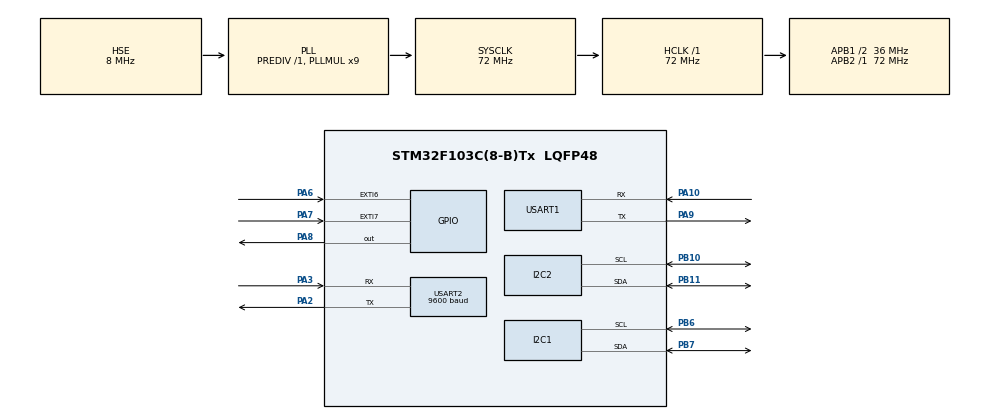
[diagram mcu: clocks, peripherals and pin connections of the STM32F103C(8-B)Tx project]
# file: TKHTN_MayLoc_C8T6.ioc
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Mcu.Family=STM32F1
RCC.PLLSourceVirtual=RCC_PLLSOURCE_HSE
PC15-OSC32_OUT.Mode=LSE-External-Oscillator
PA6.GPIO_ModeDefaultEXTI=GPIO_MODE_IT_FALLING
PD1-OSC_OUT.Mode=HSE-External-Oscillator
PA10.Mode=Asynchronous
PB10.Mode=I2C
PA7.GPIO_ModeDefaultEXTI=GPIO_MODE_IT_FALLING
PD0-OSC_IN.Signal=RCC_OSC_IN
RCC.APB1CLKDivider=RCC_HCLK_DIV2
PC14-OSC32_IN.Signal=RCC_OSC32_IN
PB11.Signal=I2C2_SDA
NVIC.USART2_IRQn=true\:0\:0\:false\:false\:true\:true\:true
USART2.BaudRate=9600
RCC.SYSCLKSource=RCC_SYSCLKSOURCE_PLLCLK
ProjectManager.StackSize=0x400
PD1-OSC_OUT.Signal=RCC_OSC_OUT
PA13.Signal=SYS_JTMS-SWDIO
PA3.Mode=Asynchronous
PA9.Mode=Asynchronous
PB11.Mode=I2C
ProjectManager.TargetToolchain=MDK-ARM V5
RCC.HCLKFreq_Value=72000000
RCC.APB2TimFreq_Value=72000000
PA9.Signal=USART1_TX
PB6.Signal=I2C1_SCL
PB6.Mode=I2C
RCC.USBFreq_Value=72000000
PC15-OSC32_OUT.Signal=RCC_OSC32_OUT
PA7.GPIO_PuPd=GPIO_PULLUP
RCC.AHBFreq_Value=72000000
PD0-OSC_IN.Mode=HSE-External-Oscillator
PB10.Signal=I2C2_SCL
board=custom
RCC.PLLMUL=RCC_PLL_MUL9
RCC.APB2Freq_Value=72000000
PA6.GPIO_PuPd=GPIO_PULLUP
PC14-OSC32_IN.Mode=LSE-External-Oscillator
PA14.Mode=Serial_Wire
PB7.Signal=I2C1_SDA
PA8.Signal=GPIO_Output
PA8.GPIO_ModeDefaultOutputPP=GPIO_MODE_OUTPUT_PP
PA13.Mode=Serial_Wire
Mcu.Name=STM32F103C(8-B)Tx
PA2.Signal=USART2_TX
RCC.SYSCLKFreq_VALUE=72000000
Mcu.Package=LQFP48
PA6.Signal=GPXTI6
USART2.VirtualMode=VM_ASYNC
USART1.VirtualMode=VM_ASYNC
PB7.Mode=I2C
NVIC.EXTI9_5_IRQn=true\:0\:0\:false\:false\:true\:true\:true
PA10.Signal=USART1_RX
PA14.Signal=SYS_JTCK-SWCLK
ProjectManager.HeapSize=0x200
NVIC.PriorityGroup=NVIC_PRIORITYGROUP_4
RCC.APB1TimFreq_Value=72000000
PA2.Mode=Asynchronous
NVIC.USART1_IRQn=true\:0\:0\:false\:false\:true\:true\:true
RCC.APB1Freq_Value=36000000
PA3.Signal=USART2_RX
PA7.Signal=GPXTI7

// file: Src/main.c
/* USER CODE BEGIN Header */
/**
  ******************************************************************************
  * @file           : main.c
  * @brief          : Main program body
  ******************************************************************************
  * @attention
  *
  * <h2><center>&copy; Copyright (c) 2020 STMicroelectronics.
  * All rights reserved.</center></h2>
  *
  * This software component is licensed by ST under BSD 3-Clause license,
  * the "License"; You may not use this file except in compliance with the
  * License. You may obtain a copy of the License at:
  *                        opensource.org/licenses/BSD-3-Clause
  *
  ******************************************************************************
  */
/* USER CODE END Header */

#include "main.h"

/* USER CODE BEGIN Includes */

#include "stm32f1xx_hal.h"
#include <stdio.h>
#include <math.h>
#include <stdlib.h>
#include <string.h>
#include "bme280.h"
#include "i2c-lcd.h"

/* USER CODE END Includes */

I2C_HandleTypeDef hi2c1;
I2C_HandleTypeDef hi2c2;

UART_HandleTypeDef huart1;
UART_HandleTypeDef huart2;

void SystemClock_Config(void);
static void MX_GPIO_Init(void);
static void MX_I2C1_Init(void);
static void MX_USART1_UART_Init(void);
static void MX_USART2_UART_Init(void);
static void MX_I2C2_Init(void);

/* USER CODE BEGIN 0 */
struct ValueSensor
{
	uint32_t PM1;		// um/g
	uint32_t PM2_5;	// um/g
	uint32_t PM10_0;	// um/g
	uint32_t Temp;		// 'C
	uint32_t Humi;		// %
	uint32_t Pre;		// pa
	uint32_t FanState;
} ;
struct ValueSensor 		ValueSensor_t;

uint8_t temperature;
uint8_t humidity;
uint16_t pressure;

struct bme280_dev dev;
struct bme280_data comp_data;
int8_t rslt;

uint8_t Rx_dataSever[1];
uint8_t Rx_dataDust[2];
uint8_t PmsTransfer_cplt;
uint8_t inFrame = 0;
uint8_t detectOff = 0;
unsigned char Buff_Sensor[63];
uint8_t frameLen;

uint32_t PM1_0_temp;
uint32_t PM2_5_temp;
uint32_t PM10_0_temp;

char line1[16];
char line2[16];

//int nhietdo[16];

uint8_t fan_auto=0;
uint8_t fan=0;
uint8_t get_sever=0;

uint8_t state=0;
uint8_t state_esp=0;
uint8_t state_lcd=0;
uint8_t	send_esp=0;

char LCDprint[30];

void sendDatatoESP();

int8_t user_i2c_read(uint8_t id, uint8_t reg_addr, uint8_t *data, uint16_t len)
{
  if(HAL_I2C_Master_Transmit(&hi2c1, (id << 1), &reg_addr, 1, 10) != HAL_OK) return -1;
  if(HAL_I2C_Master_Receive(&hi2c1, (id << 1) | 0x01, data, len, 10) != HAL_OK) return -1;

  return 0;
}

void user_delay_ms(uint32_t period)
{
  HAL_Delay(period);
}

int8_t user_i2c_write(uint8_t id, uint8_t reg_addr, uint8_t *data, uint16_t len)
{
  int8_t *buf;
  buf = malloc(len +1);
  buf[0] = reg_addr;
  memcpy(buf +1, data, len);

  if(HAL_I2C_Master_Transmit(&hi2c1, (id << 1), (uint8_t*)buf, len + 1, HAL_MAX_DELAY) != HAL_OK) return -1;

  free(buf);
  return 0;
}
int CheckSumFuncDust(unsigned char *buf)
{
  int checkSum = (buf[30] << 8) + buf[31];
  int sum = 0x42;
  for (int i = 1; i < 30; i++) {
    sum = sum + buf[i];
  }
  return sum == checkSum;
}
void HAL_UART_RxCpltCallback(UART_HandleTypeDef *huart)
{
	//-Interrupt-Function-for-Read-DUST-Data-------------------------------------------------------------------//
	if (huart->Instance == USART2)
	{
		HAL_UART_Receive_IT(&huart2,(uint8_t*)Rx_dataDust, 1);

		if (inFrame==0) {
			if(Rx_dataDust[0]==0x42 && detectOff==0){
				Buff_Sensor[detectOff]=Rx_dataDust[0];
				detectOff++;
			}
			else if (Rx_dataDust[0]==0x4D && detectOff==1){
				Buff_Sensor[detectOff]=Rx_dataDust[0];
				inFrame = 1;
				detectOff++;
			}
		}
		else {
			Buff_Sensor[detectOff]=Rx_dataDust[0];
			detectOff++;
			frameLen = Buff_Sensor[3]+(Buff_Sensor[2]<<8)+ 4;
			if (detectOff >= frameLen)
			{
				PmsTransfer_cplt = 1;
			}
		}
		//HAL_UART_Receive_IT(&huart2,(uint8_t*)Rx_dataDust,1);
	}
	if (huart->Instance == USART1)
	{
		HAL_UART_Receive_IT(&huart1,(uint8_t*)Rx_dataSever, 1);
		get_sever=Rx_dataSever[0];
		//printf("get_sever: %d \n",get_sever);
		if(get_sever==50){
			fan =0;
			//printf("sever set tu dong \n");
			fan_auto=1;
		}
		if(get_sever==49){
			fan_auto=0;
			//printf("sever set on \n");
			fan=1;
			HAL_GPIO_WritePin(GPIOA, GPIO_PIN_8, GPIO_PIN_SET);
			ValueSensor_t.FanState=11;
		}
		if(get_sever==48){
			fan_auto=0;
			//printf("sever set off\n");
			fan=0;
			HAL_GPIO_WritePin(GPIOA, GPIO_PIN_8, GPIO_PIN_RESET);
			ValueSensor_t.FanState=10;
		}
	}
}
void HAL_GPIO_EXTI_Callback(uint16_t GPIO_Pin){
	if(GPIO_Pin == GPIO_PIN_6){
		//printf("chan PC6 vao ngat\n");
		fan_auto=1-fan_auto;
		if(fan_auto==1) {
			fan =0;
			//printf("chan C6_set tu dong 1\n");
			if(PM2_5_temp>=5) {
				ValueSensor_t.FanState=21;
				sendDatatoESP();
			}
			else {
				ValueSensor_t.FanState=20;
				sendDatatoESP();
			}
		}
		if(fan_auto==0) {
			HAL_GPIO_WritePin(GPIOA, GPIO_PIN_8, GPIO_PIN_RESET);
			ValueSensor_t.FanState=10;
			sendDatatoESP();
			//printf("chan C6_set tu dong 0\n");
		}
	}
	if(GPIO_Pin == GPIO_PIN_7){
		//printf("chan PC7 vao ngat\n");
		//printf("tu dong: %d\n",fan_auto);
		if(fan_auto==0) {
			fan=1-fan;
			if(fan==1) {
				HAL_GPIO_WritePin(GPIOA, GPIO_PIN_8, GPIO_PIN_SET);
				ValueSensor_t.FanState=11;
				sendDatatoESP();
			}
			else {
				HAL_GPIO_WritePin(GPIOA, GPIO_PIN_8, GPIO_PIN_RESET);
				ValueSensor_t.FanState=10;
				sendDatatoESP();
			}
		}
	}
}
void getPMAS007_Value()
{
	ValueSensor_t.PM1    = 0;
	ValueSensor_t.PM2_5  = 0;
	ValueSensor_t.PM10_0 = 0;
	if(PmsTransfer_cplt == 1)
		{
			if(CheckSumFuncDust(Buff_Sensor))
			{
				PM1_0_temp 	= Buff_Sensor[11]+(Buff_Sensor[10]<<8);
				PM2_5_temp	= Buff_Sensor[13]+(Buff_Sensor[12]<<8);
				PM10_0_temp 	= Buff_Sensor[15]+(Buff_Sensor[14]<<8);
				detectOff = 0;
				inFrame = 0;
				PmsTransfer_cplt =0;
				ValueSensor_t.PM1 		=	PM1_0_temp;
				ValueSensor_t.PM2_5		=	PM2_5_temp;
				ValueSensor_t.PM10_0	= PM10_0_temp;
			}
			//printf("Pm1(ug/m3)     : %d\r\n", ValueSensor_t.PM1);
			//printf("Pm2_5(ug/m3)   : %d\r\n", ValueSensor_t.PM2_5);
			//printf("Pm10_0(ug/m3)  : %d\r\n", ValueSensor_t.PM10_0);
		}
}

void GY39_Init()
{
	/* BME280 dat lai */
  dev.dev_id = BME280_I2C_ADDR_PRIM;
  dev.intf = BME280_I2C_INTF;
  dev.read = user_i2c_read;
  dev.write = user_i2c_write;
  dev.delay_ms = user_delay_ms;
  rslt = bme280_init(&dev);
  /* BME280 cai dat */
  dev.settings.osr_h = BME280_OVERSAMPLING_1X;
  dev.settings.osr_p = BME280_OVERSAMPLING_16X;
  dev.settings.osr_t = BME280_OVERSAMPLING_2X;
  dev.settings.filter = BME280_FILTER_COEFF_16;
  rslt = bme280_set_sensor_settings(BME280_OSR_PRESS_SEL | BME280_OSR_TEMP_SEL | BME280_OSR_HUM_SEL | BME280_FILTER_SEL, &dev);
}
void getGY39_Value()
{
		ValueSensor_t.Temp   = 0;
		ValueSensor_t.Humi   = 0;
		ValueSensor_t.Pre    = 0;
		//GY39_Init();
		rslt = bme280_set_sensor_mode(BME280_FORCED_MODE, &dev);
    dev.delay_ms(40);
    rslt = bme280_get_sensor_data(BME280_ALL, &comp_data, &dev);
    if(rslt == BME280_OK)
    {
      temperature = comp_data.temperature / 100.0;      /* °C  */
      humidity = comp_data.humidity / 1024.0;           /* %   */
      pressure = comp_data.pressure / 10000.0;          /* hPa */
			ValueSensor_t.Temp 		=	temperature;
			ValueSensor_t.Humi		=	humidity;
			ValueSensor_t.Pre			= pressure;
			//printf("Temp(*C) : %d\n",temperature);
			//printf("Humi(%%)  : %d\n", humidity);
			//printf("Pre(Pa)  : %d\n",pressure);
			//sprintf((char*)nhietdo,"%d",temperature);
		}
}
void sendDatatoESP()
{
//	//printf("Send Data to ESP: 0");
	int Buff_ESP[15];
	Buff_ESP[0]		= 	11;
	Buff_ESP[1]		= 	22;
	Buff_ESP[2] 	= 	ValueSensor_t.Temp;
	Buff_ESP[3] 	= 	ValueSensor_t.Humi;
	Buff_ESP[4] 	= 	ValueSensor_t.Pre>>8;
	Buff_ESP[5] 	= 	ValueSensor_t.Pre&0xFF;
	Buff_ESP[6] 	= 	ValueSensor_t.PM1>>8;
	Buff_ESP[7] 	=  	ValueSensor_t.PM1&0xFF;
	Buff_ESP[8] 	= 	ValueSensor_t.PM2_5>>8;
	Buff_ESP[9] 	=		ValueSensor_t.PM2_5&0xFF;
	Buff_ESP[10] 	= 	ValueSensor_t.PM10_0>>8;
	Buff_ESP[11] 	= 	ValueSensor_t.PM10_0&0xFF;
	Buff_ESP[12] 	= 	ValueSensor_t.FanState;

	int sumESP = 0;

	for(int i=0; i<13; i++)
	{
		sumESP += Buff_ESP[i];
	}
	Buff_ESP[13] = sumESP>>8;
	Buff_ESP[14] = sumESP&0xFF;
	//printf("Buff_ESP_DATA  : ");
	for (int i=0;i<=14;i++)
	{
		HAL_UART_Transmit(&huart1,(uint8_t*)&Buff_ESP[i], 1, 100);
		//printf("%d\t",Buff_ESP[i]);
	}
	//printf("\r\n");
	////printf("Send Data to ESP: 1");
}

void LCD_setup()
{
	HAL_Delay(50);
	lcd_init();
	HAL_Delay(50);
	lcd_clear_display();
	lcd_goto_XY (1,1);
	lcd_send_string("MayLocKhongKhi");
	HAL_Delay(1000);
	lcd_clear_display();
}

/* USER CODE END 0 */

int main(void)
{

  /* MCU Configuration--------------------------------------------------------*/

  /* Reset of all peripherals, Initializes the Flash interface and the Systick. */
  HAL_Init();

  /* Configure the system clock */
  SystemClock_Config();

  /* Initialize all configured peripherals */
  MX_GPIO_Init();
  MX_I2C1_Init();
  MX_USART1_UART_Init();
  MX_USART2_UART_Init();
  MX_I2C2_Init();
  /* USER CODE BEGIN 2 */
	HAL_UART_Receive_IT(&huart2,(uint8_t*)Rx_dataDust,1);
	HAL_UART_Receive_IT(&huart1,(uint8_t*)Rx_dataSever,1);

	LCD_setup();
	GY39_Init();
	HAL_Delay(200);
	ValueSensor_t.FanState=10;

  /* USER CODE END 2 */

  /* Infinite loop */
  while (1)
  {

    /* USER CODE BEGIN 3 */
			if(state==1)
			{
				//printf("----------------Set che do---------------\n");
				if(fan_auto==1) {
					if(PM2_5_temp>=5) {
						HAL_GPIO_WritePin(GPIOA, GPIO_PIN_8, GPIO_PIN_SET);
						ValueSensor_t.FanState=21;
					}
					else {
						HAL_GPIO_WritePin(GPIOA, GPIO_PIN_8, GPIO_PIN_RESET);
						ValueSensor_t.FanState=20;
					}
				}
				if(send_esp!=ValueSensor_t.FanState){
					state_esp=58;
					send_esp=ValueSensor_t.FanState;
				}
			}
		if(state==2)
			{
				//printf("-------------------GY-39-----------------\n");
				getGY39_Value();
			}

		if(state==3)
			{
				//printf("------------------PMS7003----------------\n");
				getPMAS007_Value();
				state =0;
			}

		if(state_esp==58)
			{
				//printf("--------------Send data ESP--------------\n");
				sendDatatoESP();
				state_esp=0;
			}

		lcd_clear_display();
		lcd_goto_XY(1,2);
		lcd_send_string("*C|H%| Pa | ug");
		sprintf(LCDprint,"%2d|%2d|%4d|%3d",ValueSensor_t.Temp,ValueSensor_t.Humi,ValueSensor_t.Pre,ValueSensor_t.PM2_5);
		lcd_goto_XY(2,2);
		lcd_send_string(LCDprint);
		sprintf(LCDprint,"%2d",state_esp);
		lcd_goto_XY(1,0);
		lcd_send_string(LCDprint);
		sprintf(LCDprint,"%2d",ValueSensor_t.FanState);
		lcd_goto_XY(2,0);
		lcd_send_string(LCDprint);

		state++;
		state_esp++;
		state_lcd++;
		HAL_Delay(1000);
  }
  /* USER CODE END 3 */
}

void SystemClock_Config(void)
{
  RCC_OscInitTypeDef RCC_OscInitStruct = {0};
  RCC_ClkInitTypeDef RCC_ClkInitStruct = {0};

  /** Initializes the CPU, AHB and APB busses clocks
  */
  RCC_OscInitStruct.OscillatorType = RCC_OSCILLATORTYPE_HSE;
  RCC_OscInitStruct.HSEState = RCC_HSE_ON;
  RCC_OscInitStruct.HSEPredivValue = RCC_HSE_PREDIV_DIV1;
  RCC_OscInitStruct.HSIState = RCC_HSI_ON;
  RCC_OscInitStruct.PLL.PLLState = RCC_PLL_ON;
  RCC_OscInitStruct.PLL.PLLSource = RCC_PLLSOURCE_HSE;
  RCC_OscInitStruct.PLL.PLLMUL = RCC_PLL_MUL9;
  if (HAL_RCC_OscConfig(&RCC_OscInitStruct) != HAL_OK)
  {
    Error_Handler();
  }
  /** Initializes the CPU, AHB and APB busses clocks
  */
  RCC_ClkInitStruct.ClockType = RCC_CLOCKTYPE_HCLK|RCC_CLOCKTYPE_SYSCLK
                              |RCC_CLOCKTYPE_PCLK1|RCC_CLOCKTYPE_PCLK2;
  RCC_ClkInitStruct.SYSCLKSource = RCC_SYSCLKSOURCE_PLLCLK;
  RCC_ClkInitStruct.AHBCLKDivider = RCC_SYSCLK_DIV1;
  RCC_ClkInitStruct.APB1CLKDivider = RCC_HCLK_DIV2;
  RCC_ClkInitStruct.APB2CLKDivider = RCC_HCLK_DIV1;

  if (HAL_RCC_ClockConfig(&RCC_ClkInitStruct, FLASH_LATENCY_2) != HAL_OK)
  {
    Error_Handler();
  }
}

static void MX_I2C1_Init(void)
{

  hi2c1.Instance = I2C1;
  hi2c1.Init.ClockSpeed = 100000;
  hi2c1.Init.DutyCycle = I2C_DUTYCYCLE_2;
  hi2c1.Init.OwnAddress1 = 0;
  hi2c1.Init.AddressingMode = I2C_ADDRESSINGMODE_7BIT;
  hi2c1.Init.DualAddressMode = I2C_DUALADDRESS_DISABLE;
  hi2c1.Init.OwnAddress2 = 0;
  hi2c1.Init.GeneralCallMode = I2C_GENERALCALL_DISABLE;
  hi2c1.Init.NoStretchMode = I2C_NOSTRETCH_DISABLE;
  if (HAL_I2C_Init(&hi2c1) != HAL_OK)
  {
    Error_Handler();
  }

}

static void MX_I2C2_Init(void)
{

  hi2c2.Instance = I2C2;
  hi2c2.Init.ClockSpeed = 100000;
  hi2c2.Init.DutyCycle = I2C_DUTYCYCLE_2;
  hi2c2.Init.OwnAddress1 = 0;
  hi2c2.Init.AddressingMode = I2C_ADDRESSINGMODE_7BIT;
  hi2c2.Init.DualAddressMode = I2C_DUALADDRESS_DISABLE;
  hi2c2.Init.OwnAddress2 = 0;
  hi2c2.Init.GeneralCallMode = I2C_GENERALCALL_DISABLE;
  hi2c2.Init.NoStretchMode = I2C_NOSTRETCH_DISABLE;
  if (HAL_I2C_Init(&hi2c2) != HAL_OK)
  {
    Error_Handler();
  }

}

static void MX_USART1_UART_Init(void)
{

  huart1.Instance = USART1;
  huart1.Init.BaudRate = 115200;
  huart1.Init.WordLength = UART_WORDLENGTH_8B;
  huart1.Init.StopBits = UART_STOPBITS_1;
  huart1.Init.Parity = UART_PARITY_NONE;
  huart1.Init.Mode = UART_MODE_TX_RX;
  huart1.Init.HwFlowCtl = UART_HWCONTROL_NONE;
  huart1.Init.OverSampling = UART_OVERSAMPLING_16;
  if (HAL_UART_Init(&huart1) != HAL_OK)
  {
    Error_Handler();
  }

}

static void MX_USART2_UART_Init(void)
{

  huart2.Instance = USART2;
  huart2.Init.BaudRate = 9600;
  huart2.Init.WordLength = UART_WORDLENGTH_8B;
  huart2.Init.StopBits = UART_STOPBITS_1;
  huart2.Init.Parity = UART_PARITY_NONE;
  huart2.Init.Mode = UART_MODE_TX_RX;
  huart2.Init.HwFlowCtl = UART_HWCONTROL_NONE;
  huart2.Init.OverSampling = UART_OVERSAMPLING_16;
  if (HAL_UART_Init(&huart2) != HAL_OK)
  {
    Error_Handler();
  }

}

static void MX_GPIO_Init(void)
{
  GPIO_InitTypeDef GPIO_InitStruct = {0};

  /* GPIO Ports Clock Enable */
  __HAL_RCC_GPIOC_CLK_ENABLE();
  __HAL_RCC_GPIOD_CLK_ENABLE();
  __HAL_RCC_GPIOA_CLK_ENABLE();
  __HAL_RCC_GPIOB_CLK_ENABLE();

  /*Configure GPIO pin Output Level */
  HAL_GPIO_WritePin(GPIOA, GPIO_PIN_8, GPIO_PIN_RESET);

  /*Configure GPIO pins : PA6 PA7 */
  GPIO_InitStruct.Pin = GPIO_PIN_6|GPIO_PIN_7;
  GPIO_InitStruct.Mode = GPIO_MODE_IT_FALLING;
  GPIO_InitStruct.Pull = GPIO_PULLUP;
  HAL_GPIO_Init(GPIOA, &GPIO_InitStruct);

  /*Configure GPIO pin : PA8 */
  GPIO_InitStruct.Pin = GPIO_PIN_8;
  GPIO_InitStruct.Mode = GPIO_MODE_OUTPUT_PP;
  GPIO_InitStruct.Pull = GPIO_NOPULL;
  GPIO_InitStruct.Speed = GPIO_SPEED_FREQ_LOW;
  HAL_GPIO_Init(GPIOA, &GPIO_InitStruct);

  /* EXTI interrupt init*/
  HAL_NVIC_SetPriority(EXTI9_5_IRQn, 0, 0);
  HAL_NVIC_EnableIRQ(EXTI9_5_IRQn);

}

/* USER CODE BEGIN 4 */
//#ifdef __GNUC__
//  /* With GCC/RAISONANCE, small printf (option LD Linker->Libraries->Small printf
//     set to 'Yes') calls __io_putchar() */
//  #define PUTCHAR_PROTOTYPE int __io_putchar(int ch)
//#else
//  #define PUTCHAR_PROTOTYPE int fputc(int ch, FILE *f)
//  #define GETCHAR_PROTOTYPE int fgetc(FILE *f)
//#endif /* __GNUC__ */
//	PUTCHAR_PROTOTYPE
//{
//  /* Place your implementation of fputc here */
//  /* e.g. write a character to the USART */
//	HAL_UART_Transmit(&huart2, (uint8_t*)&ch, 1, 100);
//  /* Loop until the end of transmission */
//  return ch;
//}
/* USER CODE END 4 */

void Error_Handler(void)
{
}

#ifdef  USE_FULL_ASSERT
/**
  * @brief  Reports the name of the source file and the source line number
  *         where the assert_param error has occurred.
  * @param  file: pointer to the source file name
  * @param  line: assert_param error line source number
  * @retval None
  */
void assert_failed(uint8_t *file, uint32_t line)
{
  /* USER CODE BEGIN 6 */
  /* User can add his own implementation to report the file name and line number,
     tex: //printf("Wrong parameters value: file %s on line %d\r\n", file, line) */
  /* USER CODE END 6 */
}
#endif /* USE_FULL_ASSERT */

/************************ (C) COPYRIGHT STMicroelectronics *****END OF FILE****/
